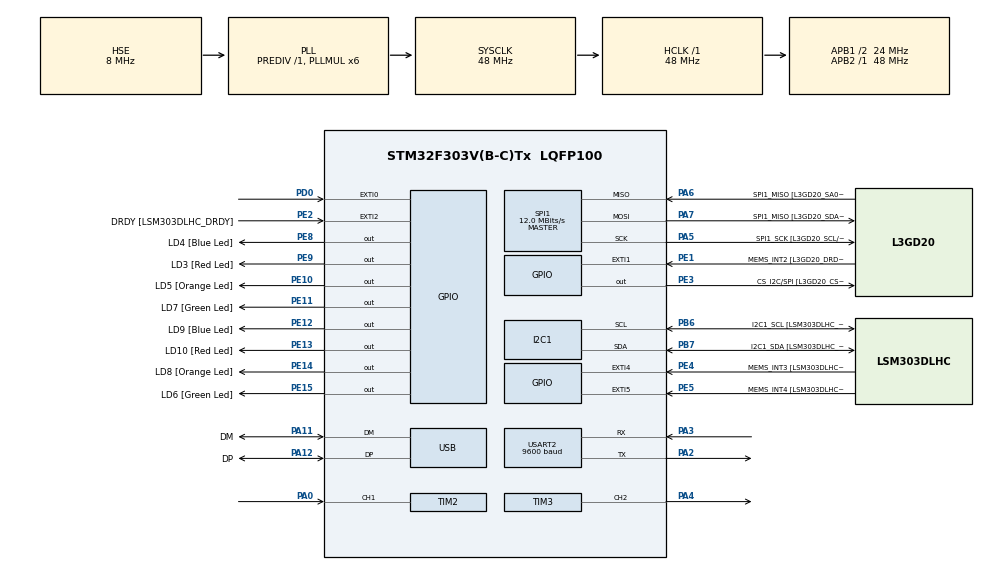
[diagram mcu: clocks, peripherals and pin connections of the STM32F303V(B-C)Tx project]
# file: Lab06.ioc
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I2C1.Timing=0x00201D2B
I2C1.Timing-I2C=0x2000090E
Mcu.Family=STM32F3
Mcu.Name=STM32F303V(B-C)Tx
Mcu.Package=LQFP100
NVIC.EXTI0_IRQn=true\:0\:0\:false\:false\:true\:true\:true\:true
NVIC.PriorityGroup=NVIC_PRIORITYGROUP_0
NVIC.TIM2_IRQn=true\:0\:0\:false\:false\:true\:true\:true\:true
PA0.Signal=S_TIM2_CH1_ETR
PA11.GPIO_Label=DM
PA11.Mode=Device
PA11.Signal=USB_DM
PA12.GPIO_Label=DP
PA12.Mode=Device
PA12.Signal=USB_DP
PA13.GPIO_Label=SWDIO
PA13.Mode=Serial_Wire
PA13.Signal=SYS_JTMS-SWDIO
PA14.GPIO_Label=SWCLK
PA14.Mode=Serial_Wire
PA14.Signal=SYS_JTCK-SWCLK
PA2.Mode=Asynchronous
PA2.Signal=USART2_TX
PA3.Mode=Asynchronous
PA3.Signal=USART2_RX
PA4.Signal=S_TIM3_CH2
PA5.GPIO_Label=SPI1_SCK [L3GD20_SCL/SPC]
PA5.Mode=Full_Duplex_Master
PA5.Signal=SPI1_SCK
PA6.GPIO_Label=SPI1_MISO [L3GD20_SA0/SDO]
PA6.Mode=Full_Duplex_Master
PA6.Signal=SPI1_MISO
PA7.GPIO_Label=SPI1_MISO [L3GD20_SDA/SDI/SDO]
PA7.Mode=Full_Duplex_Master
PA7.Signal=SPI1_MOSI
PB3.GPIO_Label=SWO
PB3.Signal=SYS_JTDO-TRACESWO
PB6.GPIO_Label=I2C1_SCL [LSM303DLHC_SCL]
PB6.GPIO_Pu=GPIO_PULLUP
PB6.Mode=I2C
PB6.Signal=I2C1_SCL
PB7.GPIO_Label=I2C1_SDA [LSM303DLHC_SDA]
PB7.GPIO_Pu=GPIO_PULLUP
PB7.Mode=I2C
PB7.Signal=I2C1_SDA
PC14-OSC32_IN.GPIO_Label=OSC32_IN
PC14-OSC32_IN.Signal=RCC_OSC32_IN
PC15-OSC32_OUT.GPIO_Label=OSC32_OUT
PC15-OSC32_OUT.Signal=RCC_OSC32_OUT
PD0.Signal=GPXTI0
PE1.GPIO_Label=MEMS_INT2 [L3GD20_DRDY/INT2]
PE1.GPIO_ModeDefaultEXTI=GPIO_MODE_EVT_RISING
PE1.Signal=GPXTI1
PE10.GPIO_Label=LD5 [Orange Led]
PE10.Signal=GPIO_Output
PE11.GPIO_Label=LD7 [Green Led]
PE11.Signal=GPIO_Output
PE12.GPIO_Label=LD9 [Blue Led]
PE12.Signal=GPIO_Output
PE13.GPIO_Label=LD10 [Red Led]
PE13.Signal=GPIO_Output
PE14.GPIO_Label=LD8 [Orange Led]
PE14.Signal=GPIO_Output
PE15.GPIO_Label=LD6 [Green Led]
PE15.Signal=GPIO_Output
PE2.GPIO_Label=DRDY [LSM303DLHC_DRDY]
PE2.GPIO_ModeDefaultEXTI=GPIO_MODE_EVT_RISING
PE2.Signal=GPXTI2
PE3.GPIO_Label=CS_I2C/SPI [L3GD20_CS_I2C/SPI]
PE3.Signal=GPIO_Output
PE4.GPIO_Label=MEMS_INT3 [LSM303DLHC_INT1]
PE4.GPIO_ModeDefaultEXTI=GPIO_MODE_EVT_RISING
PE4.Signal=GPXTI4
PE5.GPIO_Label=MEMS_INT4 [LSM303DLHC_INT2]
PE5.GPIO_ModeDefaultEXTI=GPIO_MODE_EVT_RISING
PE5.Signal=GPXTI5
PE8.GPIO_Label=LD4 [Blue Led]
PE8.Signal=GPIO_Output
PE9.GPIO_Label=LD3 [Red Led]
PE9.Signal=GPIO_Output
PF0-OSC_IN.GPIO_Label=OSC_IN
PF0-OSC_IN.Mode=HSE-External-Clock-Source
PF0-OSC_IN.Signal=RCC_OSC_IN
PF1-OSC_OUT.GPIO_Label=OSC_OUT
PF1-OSC_OUT.Signal=RCC_OSC_OUT
ProjectManager.HeapSize=0x200
ProjectManager.StackSize=0x400
ProjectManager.TargetToolchain=CMake
RCC.AHBFreq_Value=48000000
RCC.APB1CLKDivider=RCC_HCLK_DIV2
RCC.APB1Freq_Value=24000000
RCC.APB1TimFreq_Value=48000000
RCC.APB2Freq_Value=48000000
RCC.APB2TimFreq_Value=48000000
RCC.CortexFreq_Value=48000000
RCC.HCLKFreq_Value=48000000
RCC.HSE_VALUE=8000000
RCC.HSI_VALUE=8000000
RCC.LSE_VALUE=32768
RCC.PLLMUL=RCC_PLL_MUL6
RCC.SYSCLKFreq_VALUE=48000000
RCC.SYSCLKSourceVirtual=RCC_SYSCLKSOURCE_PLLCLK
RCC.USBFreq_Value=48000000
SH.S_TIM2_CH1_ETR.0=TIM2_CH1,Input_Capture1_from_TI1
SH.S_TIM3_CH2.0=TIM3_CH2,PWM Generation2 CH2
SPI1.BaudRatePrescaler=SPI_BAUDRATEPRESCALER_4
SPI1.BaudRatePrescaler-Full_Duplex_Master=SPI_BAUDRATEPRESCALER_2
SPI1.CalculateBaudRate=12.0 MBits/s
SPI1.CalculateBaudRate-Full_Duplex_Master=24.0 MBits/s
SPI1.Direction=SPI_DIRECTION_2LINES
SPI1.Mode=SPI_MODE_MASTER
SPI1.Mode-Full_Duplex_Master=SPI_MODE_MASTER
SPI1.VirtualType=VM_MASTER
TIM2.Channel-Input_Capture1_from_TI1=TIM_CHANNEL_1
TIM2.ICFilter_CH1=15
TIM2.Prescaler=9
TIM3.Channel-PWM\ Generation2\ CH2=TIM_CHANNEL_2
USART2.BaudRate=9600
USART2.VirtualMode-Asynchronous=VM_ASYNC
VP_TIM2_VS_ClockSourceINT.Mode=Internal
board=STM32F3DISCOVERY

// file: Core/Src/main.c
/* USER CODE BEGIN Header */
/**
  ******************************************************************************
  * @file           : main.c
  * @brief          : Main program body
  ******************************************************************************
  * @attention
  *
  * Copyright (c) 2026 STMicroelectronics.
  * All rights reserved.
  *
  * This software is licensed under terms that can be found in the LICENSE file
  * in the root directory of this software component.
  * If no LICENSE file comes with this software, it is provided AS-IS.
  *
  ******************************************************************************
  */
/* USER CODE END Header */
#include "main.h"

/* USER CODE BEGIN Includes */
#include "main.h"
#include <stdio.h>
#include <string.h>
/* USER CODE END Includes */

I2C_HandleTypeDef hi2c1;

SPI_HandleTypeDef hspi1;

TIM_HandleTypeDef htim2;
TIM_HandleTypeDef htim3;

UART_HandleTypeDef huart2;

PCD_HandleTypeDef hpcd_USB_FS;

/* USER CODE BEGIN PV */
//task04attempt02 begin
uint32_t ic_val1 = 0;
uint32_t ic_val2 = 0;
uint32_t ic_diff = 0;
uint8_t is_first_capture = 0;
uint8_t data_ready = 0; // Flag to tell the main loop we have a new reading
//task04attempt02 end
//task02 begin
// uint32_t ic_val1 = 0, ic_val2 = 0;
// uint32_t ic_diff = 0;
// uint8_t is_first_capture = 0;
// uint8_t print_flag2 = 0;
// float frequency2 = 0;
// char uart_buf[64];
//task01 begin
// #define SAMPLE_SIZE 10

// uint32_t capture_values[SAMPLE_SIZE];
// uint8_t sample_index = 0;
// uint8_t edge_state = 0;        // 0 = waiting for 1st edge, 1 = waiting for 2nd edge
// uint8_t print_flag = 0;
// char uart_buf[64];
/* USER CODE END PV */

void SystemClock_Config(void);
static void MX_GPIO_Init(void);
static void MX_I2C1_Init(void);
static void MX_SPI1_Init(void);
static void MX_TIM2_Init(void);
static void MX_USART2_UART_Init(void);
static void MX_USB_PCD_Init(void);
static void MX_TIM3_Init(void);
/* USER CODE BEGIN PFP */
//task01 begin
// void HAL_GPIO_EXTI_Callback(uint16_t GPIO_Pin)
// {
//     if (GPIO_Pin == GPIO_PIN_0)
//     {
//         HAL_GPIO_TogglePin(GPIOE, LD3_Pin);  // Toggle LED for visual feedback
//         if (sample_index >= SAMPLE_SIZE) return;   // already have enough samples, ignore

//         if (edge_state == 0)

//         {
//             // First edge: reset and start the timer
//             __HAL_TIM_SET_COUNTER(&htim2, 0);
//             HAL_TIM_Base_Start(&htim2);
//             edge_state = 1;
//         }
//         else
//         {
//             // Second edge: stop timer, store elapsed count
//             HAL_TIM_Base_Stop(&htim2);
//             capture_values[sample_index] = __HAL_TIM_GET_COUNTER(&htim2);
//             sample_index++;
//             edge_state = 0;   // reset for next pair

//             if (sample_index >= SAMPLE_SIZE)
//                 print_flag = 1;
//         }
//     }
// }
//task01 end
/* USER CODE END PFP */

/* USER CODE BEGIN 0 */
//task03attempt02 begin
// #include <stdio.h>

// // Override the _write function to redirect printf to USART2
// int _write(int file, char *ptr, int len) {
//     HAL_UART_Transmit(&huart2, (uint8_t*)ptr, len, HAL_MAX_DELAY);
//     return len;
// }
//task03attempt02 end
/* USER CODE END 0 */

int main(void)
{

  /* MCU Configuration--------------------------------------------------------*/

  /* Reset of all peripherals, Initializes the Flash interface and the Systick. */
   HAL_Init();

  /* Configure the system clock */
  SystemClock_Config();

  /* Initialize all configured peripherals */
  MX_GPIO_Init();
  MX_I2C1_Init();
  MX_SPI1_Init();
  MX_TIM2_Init();
  MX_USART2_UART_Init();
  MX_USB_PCD_Init();
  MX_TIM3_Init();
  /* USER CODE BEGIN 2 */
  // task03attempt02 begin
  // // 1. Start the PWM signal to turn on the transistor
  // HAL_TIM_PWM_Start(&htim3, TIM_CHANNEL_2);
  // __HAL_TIM_SET_COMPARE(&htim3, TIM_CHANNEL_2, 65535);

  // // 2. Start the timer in POLLING mode
  // HAL_TIM_IC_Start(&htim2, TIM_CHANNEL_1);
  //task03attempt02 end

  //task02 begin
  // HAL_TIM_IC_Start_IT(&htim2, TIM_CHANNEL_1);   // start input capture with interrupt

  //task04attempt02 begin
  HAL_TIM_PWM_Start(&htim3, TIM_CHANNEL_2);
  __HAL_TIM_SET_COMPARE(&htim3, TIM_CHANNEL_2, 65535);
  HAL_TIM_IC_Start_IT(&htim2, TIM_CHANNEL_1);

  // Raw hardware transmit to prove UART works
  // HAL_UART_Transmit(&huart2, (uint8_t*)test_msg, strlen(test_msg), 100);
  //task04attempt02 end
  /* USER CODE END 2 */

  /* Infinite loop */
  while (1)
  {

    /* USER CODE BEGIN 3 */
    //task03attempt02 begin

      // uint32_t val1 = 0;
      // uint32_t val2 = 0;
      // uint32_t difference = 0;

      // // 1. Wait (poll) for the FIRST encoder pulse flag
      // while (__HAL_TIM_GET_FLAG(&htim2, TIM_FLAG_CC1) == RESET) {}
      // // Read the timer value (this automatically clears the flag)
      // val1 = HAL_TIM_ReadCapturedValue(&htim2, TIM_CHANNEL_1);

      // // 2. Wait (poll) for the SECOND encoder pulse flag
      // while (__HAL_TIM_GET_FLAG(&htim2, TIM_FLAG_CC1) == RESET) {}
      // // Read the new timer value
      // val2 = HAL_TIM_ReadCapturedValue(&htim2, TIM_CHANNEL_1);

      // // 3. Calculate the time difference between pulses
      // if (val2 > val1) {
      //     difference = val2 - val1;
      // } else {
      //     // Handle timer overflow
      //     difference = (0xFFFFFFFF - val1) + val2 + 1;
      // }

      // /// 4. Calculate Frequency and RPM
      // if (difference != 0) {
      //     float refClock = 4800000.0; // Your timer clock
      //     float frequency = refClock / difference;
      //     float rpm = (frequency / 330.0) * 60.0;

      //     // Print the results to the terminal
      //     // printf("IC Freq: %.2f Hz | RPM: %.2f\r\n", frequency, rpm);
      //     printf("IC Freq: %d Hz | RPM: %d\r\n", (int)frequency, (int)rpm);
      // }

      // HAL_Delay(50);
      //task03attempt02 end
    //task02 begin
    // if (print_flag2)
    // {
    //     int len = snprintf(uart_buf, sizeof(uart_buf), "IC Frequency: %.2f Hz\r\n", frequency2);
    //     HAL_UART_Transmit(&huart2, (uint8_t*)uart_buf, len, HAL_MAX_DELAY);
    //     print_flag2 = 0;
    //     HAL_Delay(100);
    // }
    //task01 begin
  //   if (print_flag)
  //   {
  //       uint32_t sum = 0;
  //       for (int i = 0; i < SAMPLE_SIZE; i++)
  //           sum += capture_values[i];

  //       float avg_period = (float)sum / SAMPLE_SIZE;   // in timer ticks
  //       // TIM2 clock: 8 MHz APB / (prescaler+1) = 8MHz/10 = 800kHz tick rate
  //       // manual's formula: f = 8e6 / (2 * average_period)
  //       float frequency = 48000000.0f / avg_period;

  //       int len = snprintf(uart_buf, sizeof(uart_buf),
  //                           "Frequency: %.2f Hz\r\n", frequency);
  //       HAL_UART_Transmit(&huart2, (uint8_t*)uart_buf, len, HAL_MAX_DELAY);

  //       // reset for a fresh batch
  //       sample_index = 0;
  //       edge_state = 0;
  //       print_flag = 0;

  //       HAL_Delay(100);
  //   }
  // }
  //task01 end
  //task04attempt02 begin
  if (data_ready == 1) {
          if (ic_diff != 0) {
              float refClock = 4800000.0;
              float frequency = refClock / ic_diff;
              float rpm = (frequency / 330.0) * 60.0;

              // 1. Create a text buffer
              char buffer[64];
              // 2. Format the numbers into the buffer
              sprintf(buffer, "Task 4 - Freq: %d Hz | RPM: %d\r\n", (int)frequency, (int)rpm);
              // 3. Force the hardware to send the buffer
              HAL_UART_Transmit(&huart2, (uint8_t*)buffer, strlen(buffer), 100);
          }

          data_ready = 0;
          HAL_Delay(50);
      }
    }
  //task04attempt02 end
  /* USER CODE END 3 */
}

void SystemClock_Config(void)
{
  RCC_OscInitTypeDef RCC_OscInitStruct = {0};
  RCC_ClkInitTypeDef RCC_ClkInitStruct = {0};
  RCC_PeriphCLKInitTypeDef PeriphClkInit = {0};

  /** Initializes the RCC Oscillators according to the specified parameters
  * in the RCC_OscInitTypeDef structure.
  */
  RCC_OscInitStruct.OscillatorType = RCC_OSCILLATORTYPE_HSI|RCC_OSCILLATORTYPE_HSE;
  RCC_OscInitStruct.HSEState = RCC_HSE_BYPASS;
  RCC_OscInitStruct.HSEPredivValue = RCC_HSE_PREDIV_DIV1;
  RCC_OscInitStruct.HSIState = RCC_HSI_ON;
  RCC_OscInitStruct.HSICalibrationValue = RCC_HSICALIBRATION_DEFAULT;
  RCC_OscInitStruct.PLL.PLLState = RCC_PLL_ON;
  RCC_OscInitStruct.PLL.PLLSource = RCC_PLLSOURCE_HSE;
  RCC_OscInitStruct.PLL.PLLMUL = RCC_PLL_MUL6;
  if (HAL_RCC_OscConfig(&RCC_OscInitStruct) != HAL_OK)
  {
    Error_Handler();
  }

  /** Initializes the CPU, AHB and APB buses clocks
  */
  RCC_ClkInitStruct.ClockType = RCC_CLOCKTYPE_HCLK|RCC_CLOCKTYPE_SYSCLK
                              |RCC_CLOCKTYPE_PCLK1|RCC_CLOCKTYPE_PCLK2;
  RCC_ClkInitStruct.SYSCLKSource = RCC_SYSCLKSOURCE_PLLCLK;
  RCC_ClkInitStruct.AHBCLKDivider = RCC_SYSCLK_DIV1;
  RCC_ClkInitStruct.APB1CLKDivider = RCC_HCLK_DIV2;
  RCC_ClkInitStruct.APB2CLKDivider = RCC_HCLK_DIV1;

  if (HAL_RCC_ClockConfig(&RCC_ClkInitStruct, FLASH_LATENCY_1) != HAL_OK)
  {
    Error_Handler();
  }
  PeriphClkInit.PeriphClockSelection = RCC_PERIPHCLK_USB|RCC_PERIPHCLK_USART2
                              |RCC_PERIPHCLK_I2C1;
  PeriphClkInit.Usart2ClockSelection = RCC_USART2CLKSOURCE_PCLK1;
  PeriphClkInit.I2c1ClockSelection = RCC_I2C1CLKSOURCE_HSI;
  PeriphClkInit.USBClockSelection = RCC_USBCLKSOURCE_PLL;
  if (HAL_RCCEx_PeriphCLKConfig(&PeriphClkInit) != HAL_OK)
  {
    Error_Handler();
  }
}

static void MX_I2C1_Init(void)
{

  hi2c1.Instance = I2C1;
  hi2c1.Init.Timing = 0x00201D2B;
  hi2c1.Init.OwnAddress1 = 0;
  hi2c1.Init.AddressingMode = I2C_ADDRESSINGMODE_7BIT;
  hi2c1.Init.DualAddressMode = I2C_DUALADDRESS_DISABLE;
  hi2c1.Init.OwnAddress2 = 0;
  hi2c1.Init.OwnAddress2Masks = I2C_OA2_NOMASK;
  hi2c1.Init.GeneralCallMode = I2C_GENERALCALL_DISABLE;
  hi2c1.Init.NoStretchMode = I2C_NOSTRETCH_DISABLE;
  if (HAL_I2C_Init(&hi2c1) != HAL_OK)
  {
    Error_Handler();
  }

  /** Configure Analogue filter
  */
  if (HAL_I2CEx_ConfigAnalogFilter(&hi2c1, I2C_ANALOGFILTER_ENABLE) != HAL_OK)
  {
    Error_Handler();
  }

  /** Configure Digital filter
  */
  if (HAL_I2CEx_ConfigDigitalFilter(&hi2c1, 0) != HAL_OK)
  {
    Error_Handler();
  }

}

static void MX_SPI1_Init(void)
{

  /* SPI1 parameter configuration*/
  hspi1.Instance = SPI1;
  hspi1.Init.Mode = SPI_MODE_MASTER;
  hspi1.Init.Direction = SPI_DIRECTION_2LINES;
  hspi1.Init.DataSize = SPI_DATASIZE_4BIT;
  hspi1.Init.CLKPolarity = SPI_POLARITY_LOW;
  hspi1.Init.CLKPhase = SPI_PHASE_1EDGE;
  hspi1.Init.NSS = SPI_NSS_SOFT;
  hspi1.Init.BaudRatePrescaler = SPI_BAUDRATEPRESCALER_4;
  hspi1.Init.FirstBit = SPI_FIRSTBIT_MSB;
  hspi1.Init.TIMode = SPI_TIMODE_DISABLE;
  hspi1.Init.CRCCalculation = SPI_CRCCALCULATION_DISABLE;
  hspi1.Init.CRCPolynomial = 7;
  hspi1.Init.CRCLength = SPI_CRC_LENGTH_DATASIZE;
  hspi1.Init.NSSPMode = SPI_NSS_PULSE_ENABLE;
  if (HAL_SPI_Init(&hspi1) != HAL_OK)
  {
    Error_Handler();
  }

}

static void MX_TIM2_Init(void)
{

  TIM_ClockConfigTypeDef sClockSourceConfig = {0};
  TIM_MasterConfigTypeDef sMasterConfig = {0};
  TIM_IC_InitTypeDef sConfigIC = {0};

  htim2.Instance = TIM2;
  htim2.Init.Prescaler = 9;
  htim2.Init.CounterMode = TIM_COUNTERMODE_UP;
  htim2.Init.Period = 4294967295;
  htim2.Init.ClockDivision = TIM_CLOCKDIVISION_DIV1;
  htim2.Init.AutoReloadPreload = TIM_AUTORELOAD_PRELOAD_DISABLE;
  if (HAL_TIM_Base_Init(&htim2) != HAL_OK)
  {
    Error_Handler();
  }
  sClockSourceConfig.ClockSource = TIM_CLOCKSOURCE_INTERNAL;
  if (HAL_TIM_ConfigClockSource(&htim2, &sClockSourceConfig) != HAL_OK)
  {
    Error_Handler();
  }
  if (HAL_TIM_IC_Init(&htim2) != HAL_OK)
  {
    Error_Handler();
  }
  sMasterConfig.MasterOutputTrigger = TIM_TRGO_RESET;
  sMasterConfig.MasterSlaveMode = TIM_MASTERSLAVEMODE_DISABLE;
  if (HAL_TIMEx_MasterConfigSynchronization(&htim2, &sMasterConfig) != HAL_OK)
  {
    Error_Handler();
  }
  sConfigIC.ICPolarity = TIM_INPUTCHANNELPOLARITY_RISING;
  sConfigIC.ICSelection = TIM_ICSELECTION_DIRECTTI;
  sConfigIC.ICPrescaler = TIM_ICPSC_DIV1;
  sConfigIC.ICFilter = 0;
  if (HAL_TIM_IC_ConfigChannel(&htim2, &sConfigIC, TIM_CHANNEL_1) != HAL_OK)
  {
    Error_Handler();
  }

}

static void MX_TIM3_Init(void)
{

  TIM_MasterConfigTypeDef sMasterConfig = {0};
  TIM_OC_InitTypeDef sConfigOC = {0};

  htim3.Instance = TIM3;
  htim3.Init.Prescaler = 0;
  htim3.Init.CounterMode = TIM_COUNTERMODE_UP;
  htim3.Init.Period = 65535;
  htim3.Init.ClockDivision = TIM_CLOCKDIVISION_DIV1;
  htim3.Init.AutoReloadPreload = TIM_AUTORELOAD_PRELOAD_DISABLE;
  if (HAL_TIM_PWM_Init(&htim3) != HAL_OK)
  {
    Error_Handler();
  }
  sMasterConfig.MasterOutputTrigger = TIM_TRGO_RESET;
  sMasterConfig.MasterSlaveMode = TIM_MASTERSLAVEMODE_DISABLE;
  if (HAL_TIMEx_MasterConfigSynchronization(&htim3, &sMasterConfig) != HAL_OK)
  {
    Error_Handler();
  }
  sConfigOC.OCMode = TIM_OCMODE_PWM1;
  sConfigOC.Pulse = 0;
  sConfigOC.OCPolarity = TIM_OCPOLARITY_HIGH;
  sConfigOC.OCFastMode = TIM_OCFAST_DISABLE;
  if (HAL_TIM_PWM_ConfigChannel(&htim3, &sConfigOC, TIM_CHANNEL_2) != HAL_OK)
  {
    Error_Handler();
  }
  HAL_TIM_MspPostInit(&htim3);

}

static void MX_USART2_UART_Init(void)
{

  huart2.Instance = USART2;
  huart2.Init.BaudRate = 9600;
  huart2.Init.WordLength = UART_WORDLENGTH_8B;
  huart2.Init.StopBits = UART_STOPBITS_1;
  huart2.Init.Parity = UART_PARITY_NONE;
  huart2.Init.Mode = UART_MODE_TX_RX;
  huart2.Init.HwFlowCtl = UART_HWCONTROL_NONE;
  huart2.Init.OverSampling = UART_OVERSAMPLING_16;
  huart2.Init.OneBitSampling = UART_ONE_BIT_SAMPLE_DISABLE;
  huart2.AdvancedInit.AdvFeatureInit = UART_ADVFEATURE_NO_INIT;
  if (HAL_UART_Init(&huart2) != HAL_OK)
  {
    Error_Handler();
  }

}

static void MX_USB_PCD_Init(void)
{

  hpcd_USB_FS.Instance = USB;
  hpcd_USB_FS.Init.dev_endpoints = 8;
  hpcd_USB_FS.Init.speed = PCD_SPEED_FULL;
  hpcd_USB_FS.Init.phy_itface = PCD_PHY_EMBEDDED;
  hpcd_USB_FS.Init.low_power_enable = DISABLE;
  hpcd_USB_FS.Init.battery_charging_enable = DISABLE;
  if (HAL_PCD_Init(&hpcd_USB_FS) != HAL_OK)
  {
    Error_Handler();
  }

}

static void MX_GPIO_Init(void)
{
  GPIO_InitTypeDef GPIO_InitStruct = {0};

  /* GPIO Ports Clock Enable */
  __HAL_RCC_GPIOE_CLK_ENABLE();
  __HAL_RCC_GPIOC_CLK_ENABLE();
  __HAL_RCC_GPIOF_CLK_ENABLE();
  __HAL_RCC_GPIOA_CLK_ENABLE();
  __HAL_RCC_GPIOD_CLK_ENABLE();
  __HAL_RCC_GPIOB_CLK_ENABLE();

  /*Configure GPIO pin Output Level */
  HAL_GPIO_WritePin(GPIOE, CS_I2C_SPI_Pin|LD4_Pin|LD3_Pin|LD5_Pin
                          |LD7_Pin|LD9_Pin|LD10_Pin|LD8_Pin
                          |LD6_Pin, GPIO_PIN_RESET);

  /*Configure GPIO pins : DRDY_Pin MEMS_INT3_Pin MEMS_INT4_Pin MEMS_INT2_Pin */
  GPIO_InitStruct.Pin = DRDY_Pin|MEMS_INT3_Pin|MEMS_INT4_Pin|MEMS_INT2_Pin;
  GPIO_InitStruct.Mode = GPIO_MODE_EVT_RISING;
  GPIO_InitStruct.Pull = GPIO_NOPULL;
  HAL_GPIO_Init(GPIOE, &GPIO_InitStruct);

  /*Configure GPIO pins : CS_I2C_SPI_Pin LD4_Pin LD3_Pin LD5_Pin
                           LD7_Pin LD9_Pin LD10_Pin LD8_Pin
                           LD6_Pin */
  GPIO_InitStruct.Pin = CS_I2C_SPI_Pin|LD4_Pin|LD3_Pin|LD5_Pin
                          |LD7_Pin|LD9_Pin|LD10_Pin|LD8_Pin
                          |LD6_Pin;
  GPIO_InitStruct.Mode = GPIO_MODE_OUTPUT_PP;
  GPIO_InitStruct.Pull = GPIO_NOPULL;
  GPIO_InitStruct.Speed = GPIO_SPEED_FREQ_LOW;
  HAL_GPIO_Init(GPIOE, &GPIO_InitStruct);

  /*Configure GPIO pin : PD0 */
  GPIO_InitStruct.Pin = GPIO_PIN_0;
  GPIO_InitStruct.Mode = GPIO_MODE_IT_RISING;
  GPIO_InitStruct.Pull = GPIO_NOPULL;
  HAL_GPIO_Init(GPIOD, &GPIO_InitStruct);

  /* EXTI interrupt init*/
  HAL_NVIC_SetPriority(EXTI0_IRQn, 0, 0);
  HAL_NVIC_EnableIRQ(EXTI0_IRQn);

}

/* USER CODE BEGIN 4 */
//task02 begin

// void HAL_TIM_IC_CaptureCallback(TIM_HandleTypeDef *htim)
// {
//     if (htim->Instance == TIM2)
//     {
//         if (is_first_capture == 0)
//         {
//             ic_val1 = HAL_TIM_ReadCapturedValue(htim, TIM_CHANNEL_1);
//             is_first_capture = 1;
//         }
//         else
//         {
//             ic_val2 = HAL_TIM_ReadCapturedValue(htim, TIM_CHANNEL_1);

//             if (ic_val2 > ic_val1)
//                 ic_diff = ic_val2 - ic_val1;
//             else
//                 ic_diff = (0xFFFF - ic_val1) + ic_val2 + 1;  // handle counter overflow

//             frequency2 = 1000000.0f / ic_diff;   // 1 MHz tick rate → freq in Hz
//             print_flag2 = 1;

//             is_first_capture = 0;   // reset, next capture starts a new pair
//         }
//     }
// }
//task04attempt02 begin
void HAL_TIM_IC_CaptureCallback(TIM_HandleTypeDef *htim)
{
    if (htim->Instance == TIM2)
    {
        if (is_first_capture == 0)
        {
            // Record first edge
            ic_val1 = HAL_TIM_ReadCapturedValue(htim, TIM_CHANNEL_1);
            is_first_capture = 1;
        }
        else
        {
            // Record second edge
            ic_val2 = HAL_TIM_ReadCapturedValue(htim, TIM_CHANNEL_1);

            // Calculate difference and handle overflow
            if (ic_val2 > ic_val1)
                ic_diff = ic_val2 - ic_val1;
            else
                ic_diff = (0xFFFFFFFF - ic_val1) + ic_val2 + 1;

            is_first_capture = 0; // Reset for the next pair of clicks
            data_ready = 1;       // Tell the while(1) loop to print the new data
        }
    }
}
//task04attempt02 end
/* USER CODE END 4 */

void Error_Handler(void)
{
  __disable_irq();
  while (1)
  {
  }
}
